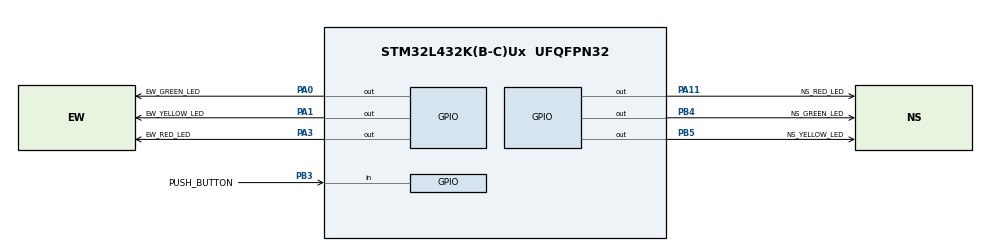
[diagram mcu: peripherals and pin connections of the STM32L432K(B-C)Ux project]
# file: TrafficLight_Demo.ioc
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Mcu.Family=STM32L4
RCC.MSI_VALUE=4000000
PA0.GPIO_Label=EW_GREEN_LED
PA11.GPIO_Label=NS_RED_LED
PB3\ (JTDO-TRACESWO).GPIO_Label=PUSH_BUTTON
ProjectManager.StackSize=0x400
PB3\ (JTDO-TRACESWO).Signal=GPIO_Input
ProjectManager.TargetToolchain=TrueSTUDIO
RCC.LSE_VALUE=32768
PA1.Signal=GPIO_Output
RCC.HSE_VALUE=8000000
board=custom
RCC.VCOOutputFreq_Value=32000000
PA1.GPIO_Label=EW_YELLOW_LED
Mcu.Name=STM32L432K(B-C)Ux
PA0.Signal=GPIO_Output
Mcu.Package=UFQFPN32
PB5.Signal=GPIO_Output
PA11.Signal=GPIO_Output
ProjectManager.HeapSize=0x200
RCC.HSI_VALUE=16000000
NVIC.PriorityGroup=NVIC_PRIORITYGROUP_4
PB5.GPIO_Label=NS_YELLOW_LED
PB4\ (NJTRST).GPIO_Label=NS_GREEN_LED
RCC.HSI48_VALUE=48000000
PA3.GPIO_Label=EW_RED_LED
PA3.Signal=GPIO_Output
PB4\ (NJTRST).Signal=GPIO_Output

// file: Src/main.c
/* USER CODE BEGIN Header */
/**
  ******************************************************************************
  * @file           : main.c
  * @brief          : Main program body
  ******************************************************************************
  * @attention
  *
  * <h2><center>&copy; Copyright (c) 2020 STMicroelectronics.
  * All rights reserved.</center></h2>
  *
  * This software component is licensed by ST under BSD 3-Clause license,
  * the "License"; You may not use this file except in compliance with the
  * License. You may obtain a copy of the License at:
  *                        opensource.org/licenses/BSD-3-Clause
  *
  ******************************************************************************
  */
/* USER CODE END Header */

#include "main.h"

/* USER CODE BEGIN PTD */
typedef enum
{
	Transition_NS_State,
	NS_Pass_EW_Stop_State,
	All_Stop_EW_State,
	NS_Stop_EW_Pass_State,
	Transition_EW_State,
	All_Stop_NS_State
} eSystemState;

/* USER CODE END PTD */

void SystemClock_Config(void);
static void MX_GPIO_Init(void);

/* USER CODE BEGIN 0 */
eSystemState NorthSouthPassHandler(void)
{
	HAL_GPIO_WritePin(GPIOB, NS_GREEN_LED_Pin, GPIO_PIN_SET);
	HAL_GPIO_WritePin(GPIOB, NS_YELLOW_LED_Pin, GPIO_PIN_RESET);
	HAL_GPIO_WritePin(GPIOA, NS_RED_LED_Pin, GPIO_PIN_RESET);

	HAL_GPIO_WritePin(GPIOA, EW_GREEN_LED_Pin, GPIO_PIN_RESET);
	HAL_GPIO_WritePin(GPIOA, EW_YELLOW_LED_Pin, GPIO_PIN_RESET);
	HAL_GPIO_WritePin(GPIOA, EW_RED_LED_Pin, GPIO_PIN_SET);

	HAL_Delay(10*1000); //10 seconds
	return Transition_NS_State;
}

eSystemState TransitionNorthSouthHandler(void)
{
	HAL_GPIO_WritePin(GPIOB, NS_GREEN_LED_Pin, GPIO_PIN_RESET);
	HAL_GPIO_WritePin(GPIOB, NS_YELLOW_LED_Pin, GPIO_PIN_SET);
	HAL_GPIO_WritePin(GPIOA, NS_RED_LED_Pin, GPIO_PIN_RESET);

	HAL_GPIO_WritePin(GPIOA, EW_GREEN_LED_Pin, GPIO_PIN_RESET);
	HAL_GPIO_WritePin(GPIOA, EW_YELLOW_LED_Pin, GPIO_PIN_RESET);
	HAL_GPIO_WritePin(GPIOA, EW_RED_LED_Pin, GPIO_PIN_SET);

	HAL_Delay(5*1000); //5 seconds
	return All_Stop_EW_State;
}

eSystemState AllStopEastWestHandler(void)
{
	HAL_GPIO_WritePin(GPIOB, NS_GREEN_LED_Pin, GPIO_PIN_RESET);
	HAL_GPIO_WritePin(GPIOB, NS_YELLOW_LED_Pin, GPIO_PIN_RESET);
	HAL_GPIO_WritePin(GPIOA, NS_RED_LED_Pin, GPIO_PIN_SET);

	HAL_GPIO_WritePin(GPIOA, EW_GREEN_LED_Pin, GPIO_PIN_RESET);
	HAL_GPIO_WritePin(GPIOA, EW_YELLOW_LED_Pin, GPIO_PIN_RESET);
	HAL_GPIO_WritePin(GPIOA, EW_RED_LED_Pin, GPIO_PIN_SET);

	HAL_Delay(5*1000); //5 seconds
	return NS_Stop_EW_Pass_State;
}

eSystemState EastWestPassHandler(void)
{
	HAL_GPIO_WritePin(GPIOB, NS_GREEN_LED_Pin, GPIO_PIN_RESET);
	HAL_GPIO_WritePin(GPIOB, NS_YELLOW_LED_Pin, GPIO_PIN_RESET);
	HAL_GPIO_WritePin(GPIOA, NS_RED_LED_Pin, GPIO_PIN_SET);

	HAL_GPIO_WritePin(GPIOA, EW_GREEN_LED_Pin, GPIO_PIN_SET);
	HAL_GPIO_WritePin(GPIOA, EW_YELLOW_LED_Pin, GPIO_PIN_RESET);
	HAL_GPIO_WritePin(GPIOA, EW_RED_LED_Pin, GPIO_PIN_RESET);

	HAL_Delay(10*1000); //10 seconds
	return NS_Stop_EW_Pass_State;
}

eSystemState TransitionEastWestHandler(void)
{
	HAL_GPIO_WritePin(GPIOB, NS_GREEN_LED_Pin, GPIO_PIN_RESET);
	HAL_GPIO_WritePin(GPIOB, NS_YELLOW_LED_Pin, GPIO_PIN_RESET);
	HAL_GPIO_WritePin(GPIOA, NS_RED_LED_Pin, GPIO_PIN_SET);

	HAL_GPIO_WritePin(GPIOA, EW_GREEN_LED_Pin, GPIO_PIN_RESET);
	HAL_GPIO_WritePin(GPIOA, EW_YELLOW_LED_Pin, GPIO_PIN_SET);
	HAL_GPIO_WritePin(GPIOA, EW_RED_LED_Pin, GPIO_PIN_RESET);

	HAL_Delay(5*1000); //5 seconds
	return All_Stop_NS_State;
}

eSystemState AllStopNorthSouthHandler(void)
{
	HAL_GPIO_WritePin(GPIOB, NS_GREEN_LED_Pin, GPIO_PIN_RESET);
	HAL_GPIO_WritePin(GPIOB, NS_YELLOW_LED_Pin, GPIO_PIN_RESET);
	HAL_GPIO_WritePin(GPIOA, NS_RED_LED_Pin, GPIO_PIN_SET);

	HAL_GPIO_WritePin(GPIOA, EW_GREEN_LED_Pin, GPIO_PIN_RESET);
	HAL_GPIO_WritePin(GPIOA, EW_YELLOW_LED_Pin, GPIO_PIN_RESET);
	HAL_GPIO_WritePin(GPIOA, EW_RED_LED_Pin, GPIO_PIN_SET);

	HAL_Delay(5*1000); //5 seconds
	return NS_Pass_EW_Stop_State;
}
/* USER CODE END 0 */

int main(void)
{

  /* MCU Configuration--------------------------------------------------------*/

  /* Reset of all peripherals, Initializes the Flash interface and the Systick. */
  HAL_Init();

  /* Configure the system clock */
  SystemClock_Config();

  /* Initialize all configured peripherals */
  MX_GPIO_Init();
  /* USER CODE BEGIN 2 */
  eSystemState eNextState = EastWestPassHandler();
  /* USER CODE END 2 */

  /* Infinite loop */
  /* USER CODE BEGIN WHILE */
  while (1)
  {
	  switch(eNextState)
	  {
	  	  case NS_Stop_EW_Pass_State:
	  		  eNextState = EastWestPassHandler();
	  		  if(HAL_GPIO_ReadPin(GPIOB, PUSH_BUTTON_Pin))
	  			  eNextState = TransitionEastWestHandler();
	  		  break;
	  	  case Transition_EW_State:
	  		  eNextState = TransitionEastWestHandler();
	  	  	  break;
	  	  case All_Stop_NS_State:
	  		  eNextState = AllStopNorthSouthHandler();
	  		  break;
	  	  case NS_Pass_EW_Stop_State:
	  		  eNextState = NorthSouthPassHandler();
	  		  break;
	  	  case Transition_NS_State:
	  		  eNextState = TransitionNorthSouthHandler();
	  		  break;
	  	  case All_Stop_EW_State:
	  		  eNextState = AllStopEastWestHandler();
	  		  break;
	  	  default:
	  		  eNextState = AllStopNorthSouthHandler();
	  		  break;
	  }
    /* USER CODE END WHILE */

  }
}

void SystemClock_Config(void)
{
  RCC_OscInitTypeDef RCC_OscInitStruct = {0};
  RCC_ClkInitTypeDef RCC_ClkInitStruct = {0};

  /** Initializes the CPU, AHB and APB busses clocks
  */
  RCC_OscInitStruct.OscillatorType = RCC_OSCILLATORTYPE_MSI;
  RCC_OscInitStruct.MSIState = RCC_MSI_ON;
  RCC_OscInitStruct.MSICalibrationValue = 0;
  RCC_OscInitStruct.MSIClockRange = RCC_MSIRANGE_6;
  RCC_OscInitStruct.PLL.PLLState = RCC_PLL_NONE;
  if (HAL_RCC_OscConfig(&RCC_OscInitStruct) != HAL_OK)
  {
    Error_Handler();
  }
  /** Initializes the CPU, AHB and APB busses clocks
  */
  RCC_ClkInitStruct.ClockType = RCC_CLOCKTYPE_HCLK|RCC_CLOCKTYPE_SYSCLK
                              |RCC_CLOCKTYPE_PCLK1|RCC_CLOCKTYPE_PCLK2;
  RCC_ClkInitStruct.SYSCLKSource = RCC_SYSCLKSOURCE_MSI;
  RCC_ClkInitStruct.AHBCLKDivider = RCC_SYSCLK_DIV1;
  RCC_ClkInitStruct.APB1CLKDivider = RCC_HCLK_DIV1;
  RCC_ClkInitStruct.APB2CLKDivider = RCC_HCLK_DIV1;

  if (HAL_RCC_ClockConfig(&RCC_ClkInitStruct, FLASH_LATENCY_0) != HAL_OK)
  {
    Error_Handler();
  }
  /** Configure the main internal regulator output voltage
  */
  if (HAL_PWREx_ControlVoltageScaling(PWR_REGULATOR_VOLTAGE_SCALE1) != HAL_OK)
  {
    Error_Handler();
  }
}

static void MX_GPIO_Init(void)
{
  GPIO_InitTypeDef GPIO_InitStruct = {0};

  /* GPIO Ports Clock Enable */
  __HAL_RCC_GPIOA_CLK_ENABLE();
  __HAL_RCC_GPIOB_CLK_ENABLE();

  /*Configure GPIO pin Output Level */
  HAL_GPIO_WritePin(GPIOA, EW_GREEN_LED_Pin|EW_YELLOW_LED_Pin|EW_RED_LED_Pin|NS_RED_LED_Pin, GPIO_PIN_RESET);

  /*Configure GPIO pin Output Level */
  HAL_GPIO_WritePin(GPIOB, NS_GREEN_LED_Pin|NS_YELLOW_LED_Pin, GPIO_PIN_RESET);

  /*Configure GPIO pins : EW_GREEN_LED_Pin EW_YELLOW_LED_Pin EW_RED_LED_Pin NS_RED_LED_Pin */
  GPIO_InitStruct.Pin = EW_GREEN_LED_Pin|EW_YELLOW_LED_Pin|EW_RED_LED_Pin|NS_RED_LED_Pin;
  GPIO_InitStruct.Mode = GPIO_MODE_OUTPUT_PP;
  GPIO_InitStruct.Pull = GPIO_NOPULL;
  GPIO_InitStruct.Speed = GPIO_SPEED_FREQ_LOW;
  HAL_GPIO_Init(GPIOA, &GPIO_InitStruct);

  /*Configure GPIO pin : PUSH_BUTTON_Pin */
  GPIO_InitStruct.Pin = PUSH_BUTTON_Pin;
  GPIO_InitStruct.Mode = GPIO_MODE_INPUT;
  GPIO_InitStruct.Pull = GPIO_NOPULL;
  HAL_GPIO_Init(PUSH_BUTTON_GPIO_Port, &GPIO_InitStruct);

  /*Configure GPIO pins : NS_GREEN_LED_Pin NS_YELLOW_LED_Pin */
  GPIO_InitStruct.Pin = NS_GREEN_LED_Pin|NS_YELLOW_LED_Pin;
  GPIO_InitStruct.Mode = GPIO_MODE_OUTPUT_PP;
  GPIO_InitStruct.Pull = GPIO_NOPULL;
  GPIO_InitStruct.Speed = GPIO_SPEED_FREQ_LOW;
  HAL_GPIO_Init(GPIOB, &GPIO_InitStruct);

}

void Error_Handler(void)
{
}

/************************ (C) COPYRIGHT STMicroelectronics *****END OF FILE****/
